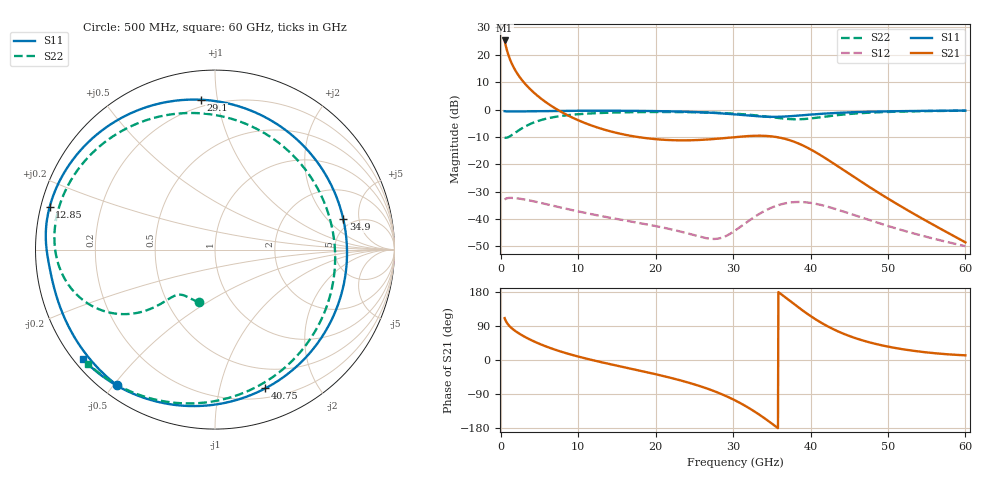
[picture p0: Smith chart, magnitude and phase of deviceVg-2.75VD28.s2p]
! Created Mon Feb 12 23:42:28 2024
# hz S ma R 50
! 2 Port Network Data from SP1.SP block
! freq  magS11  angS11  magS21  angS21  magS12  angS12  magS22  angS22
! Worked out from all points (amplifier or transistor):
!   1191 points, 500 MHz to 60 GHz, reference 50 ohm
!   highest |S21| = 25.3 dB at 500 MHz (marker M1)
!   |S21| within 3 dB of that: start of sweep to 745 MHz
!   unconditionally stable (mu >= 1): 7.375 GHz to end of sweep
!   at 10.4 GHz: K = 1.53, MAG = 12.3 dB, |S12| = -37.5 dB
!   at 30.25 GHz: K = 25.30, MAG = 0.1 dB, |S12| = -44.3 dB
!   at 60 GHz: K = 340.93, MAG = -27.6 dB, |S12| = -50.0 dB
!   S11 on the Smith chart (normalised r, x): 500 MHz: 0.04, -0.51; 12.85 GHz: 0.03, +0.13; 29.1 GHz: 0.16, +0.90; 34.9 GHz: 4.19, +3.08; 40.75 GHz: 0.29, -1.39; 60 GHz: 0.03, -0.36
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5e8  0.9327 -126.0  18.32 110.5  0.02252 21.3  0.308 -107.1
6.5e8  0.9268 -137.3  14.66 103.3  0.02342 14.4  0.3042 -116.5
9e8  0.9224 -148.8  10.88 95.1  0.02404 6.6  0.3094 -124.8
1.1e9  0.921 -154.5  8.964 90.2  0.02421 2.1  0.319 -128.2
1.35e9  0.9204 -159.4  7.317 85.1  0.02423 -2.6  0.3351 -130.6
1.65e9  0.9206 -163.5  5.964 80.0  0.02411 -7.2  0.3581 -132.3
1.95e9  0.9213 -166.4  5.008 75.5  0.0239 -11.1  0.3834 -133.4
2.75e9  0.9244 -171.5  3.443 65.2  0.02306 -20.1  0.4547 -136.0
3.9e9  0.9302 -175.8  2.286 52.8  0.0215 -30.5  0.5515 -140.5
5.45e9  0.9377 -179.8  1.49 38.9  0.01922 -41.7  0.6566 -147.1
7.5e9  0.9452 175.9  0.9595 23.9  0.01645 -53.1  0.7516 -155.2
1.045e10  0.9507 170.3  0.5984 6.7  0.01329 -65.0  0.8298 -164.9
1.285e10  0.9515 165.5  0.4513 -5.1  0.01135 -72.2  0.8646 -171.5
2.035e10  0.9353 146.4  0.2843 -39.2  0.007225 -87.5  0.9012 169.5
2.91e10  0.839 95.5  0.3024 -95.3  0.004869 -52.8  0.8567 135.4
3.025e10  0.8144 83.2  0.3132 -106.4  0.006103 -45.1  0.8397 127.8
3.49e10  0.7345 13.3  0.3238 -166.1  0.0159 -67.8  0.7259 78.5
4.02e10  0.8114 -64.4  0.1805 113.4  0.01943 -134.1  0.691 -22.0
4.075e10  0.8224 -70.1  0.1629 106.2  0.01879 -140.3  0.7061 -31.7
4.445e10  0.8808 -98.2  0.07514 67.7  0.01334 -173.8  0.8155 -79.3
5.01e10  0.9269 -121.5  0.02308 34.9  0.007347 158.2  0.9048 -114.1
6e10  0.9566 -140.5  0.003729 12.3  0.003172 136.9  0.9513 -138.0
